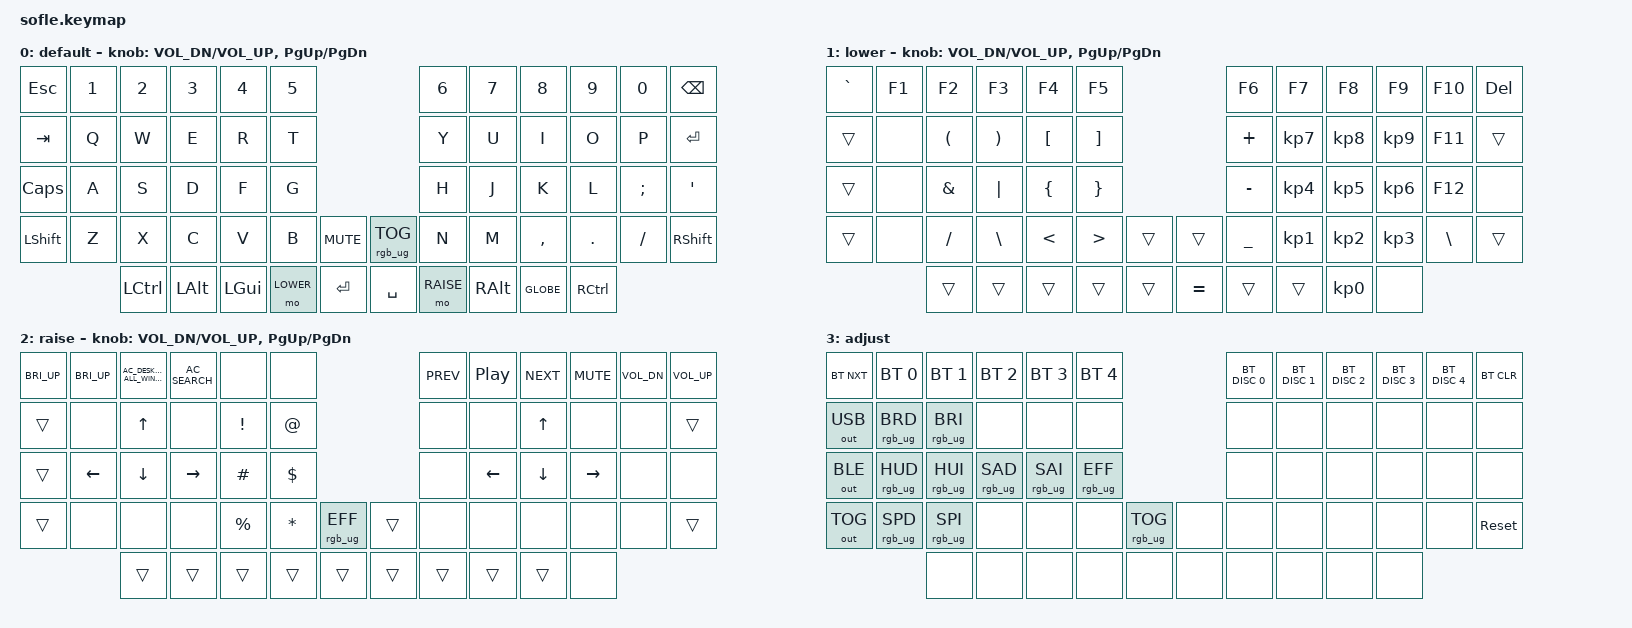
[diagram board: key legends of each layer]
/*
 * Copyright (c) 2020 The ZMK Contributors
 *
 * SPDX-License-Identifier: MIT
 */

#include <behaviors.dtsi>
#include <dt-bindings/zmk/keys.h>
#include <dt-bindings/zmk/bt.h>
#include <dt-bindings/zmk/rgb.h>
#include <dt-bindings/zmk/ext_power.h>
#include <dt-bindings/zmk/outputs.h>

#define BASE 0
#define LOWER 1
#define RAISE 2
#define ADJUST 3

/ {

   // Activate ADJUST layer by pressing raise and lower
    conditional_layers {
        compatible = "zmk,conditional-layers";
        adjust_layer {
            if-layers = <LOWER RAISE>;
            then-layer = <ADJUST>;
        };
    };

    keymap {
        compatible = "zmk,keymap";

        default_layer {
            display-name = "default";
// ╭─────────────┬─────────────┬─────────────┬─────────────┬─────────────┬─────────────╮                               ╭─────────────┬─────────────┬─────────────┬─────────────┬─────────────┬─────────────╮
// |     ESC     |      1      |      2      |      3      |      4      |      5      |                               |      6      |      7      |      8      |      9      |      0      |     BSPC    |
// ├─────────────┼─────────────┼─────────────┼─────────────┼─────────────┼─────────────┤                               ├─────────────┼─────────────┼─────────────┼─────────────┼─────────────┼─────────────┤
// |     TAB     |      Q      |      W      |      E      |      R      |      T      |                               |      Y      |      U      |      I      |      O      |      P      |    ENTER    |
// ├─────────────┼─────────────┼─────────────┼─────────────┼─────────────┼─────────────┤                               ├─────────────┼─────────────┼─────────────┼─────────────┼─────────────┼─────────────┤
// |     CAPS    |      A      |      S      |      D      |      F      |      G      |                               |      H      |      J      |      K      |      L      |      ;      |      '      |
// ├─────────────┼─────────────┼─────────────┼─────────────┼─────────────┼─────────────┬─────────────╮    ╭────────────┼─────────────┼─────────────┼─────────────┼─────────────┼─────────────┼─────────────┤
// |     LSHIFT  |      Z      |      X      |      C      |      V      |      B      |     MUTE    |    |     RGB    |      N      |      M      |      ,      |      .      |      /      |    RSHIFT   |
// ╰─────────────┴─────────────┴─────────────┼─────────────┼─────────────┼─────────────├─────────────┤    ├────────────┼─────────────┼─────────────┼─────────────┼─────────────┼─────────────┴─────────────╯
//                             |     LCTRL   |     LALT    |     LGUI    |     LOWER   |    ENTER    |    |   SPACE    |    RAISE    |     RALT    |     GLOBE   |    RCTRL    |
//                             ╰─────────────┴─────────────┴─────────────┴─────────────┴─────────────╯    ╰────────────┴─────────────┴─────────────┴─────────────┴─────────────╯
                        bindings = <
            &kp ESC   &kp N1 &kp N2   &kp N3   &kp N4    &kp N5                                  &kp N6     &kp N7    &kp N8    &kp N9   &kp N0   &kp BSPC
            &kp TAB   &kp Q  &kp W    &kp E    &kp R     &kp T                                   &kp Y      &kp U     &kp I     &kp O    &kp P    &kp RET
            &kp CLCK  &kp A  &kp S    &kp D    &kp F     &kp G                                   &kp H      &kp J     &kp K     &kp L    &kp SEMI &kp SQT
            &kp LSHFT &kp Z  &kp X    &kp C    &kp V     &kp B      &kp C_MUTE &rgb_ug RGB_TOG   &kp N      &kp M     &kp COMMA &kp DOT  &kp FSLH &kp RSHFT
                          &kp LCTRL &kp LALT &kp LGUI  &mo LOWER  &kp RET     &kp SPACE         &mo RAISE  &kp RALT   &kp GLOBE    &kp RCTRL
                        >; 

            sensor-bindings = <&inc_dec_kp C_VOL_DN C_VOL_UP &inc_dec_kp PG_UP PG_DN>;
        };

        lower_layer {
            display-name = "lower";
// ╭─────────────┬─────────────┬─────────────┬─────────────┬─────────────┬─────────────╮                               ╭─────────────┬─────────────┬─────────────┬─────────────┬─────────────┬─────────────╮
// |    ` ~      |      F1     |      F2     |     F3      |      F4     |      F5     |                               |      F6     |      F7     |      F8     |      F9     |      F10    |     DEL     |
// ├─────────────┼─────────────┼─────────────┼─────────────┼─────────────┼─────────────┤                               ├─────────────┼─────────────┼─────────────┼─────────────┼─────────────┼─────────────┤
// |             |             |      (      |      )      |      [      |      ]      |                               |      +      |      7      |      8      |      9      |      F11    |             |
// ├─────────────┼─────────────┼─────────────┼─────────────┼─────────────┼─────────────┤                               ├─────────────┼─────────────┼─────────────┼─────────────┼─────────────┼─────────────┤
// |             |             |      &      |      |      |      {      |      }      |                               |      -      |      4      |      5      |      6      |      F12    |             |
// ├─────────────┼─────────────┼─────────────┼─────────────┼─────────────┼─────────────┬─────────────╮    ╭────────────┼─────────────┼─────────────┼─────────────┼─────────────┼─────────────┼─────────────┤
// |             |             |      /      |      \      |      <      |      >      |             |    |            |      _      |      1      |      2      |      3      |      \      |             |
// ╰─────────────┴─────────────┴─────────────┼─────────────┼─────────────┼─────────────├─────────────┤    ├────────────┼─────────────┼─────────────┼─────────────┼─────────────┼─────────────┴─────────────╯
//                             |             |             |             |             |             |    |     =      |             |             |      0      |             |
//                             ╰─────────────┴─────────────┴─────────────┴─────────────┴─────────────╯    ╰────────────┴─────────────┴─────────────┴─────────────┴─────────────╯
                        bindings = <
            &kp GRAVE &kp F1    &kp F2    &kp F3    &kp F4    &kp F5                     &kp F6    &kp F7       &kp F8       &kp F9       &kp F10    &kp DEL
            &trans     &none     &kp LPAR  &kp RPAR  &kp LBKT  &kp RBKT                   &kp PLUS  &kp KP_N7    &kp KP_N8    &kp KP_N9    &kp F11    &trans 
            &trans     &none     &kp AMPS  &kp PIPE  &kp LBRC  &kp RBRC                   &kp MINUS &kp KP_N4    &kp KP_N5    &kp KP_N6    &kp F12    &none
            &trans     &none     &kp FSLH  &kp BSLH  &kp LT    &kp GT    &trans &trans    &kp UNDER &kp KP_N1    &kp KP_N2    &kp KP_N3    &kp BSLH   &trans
                                &trans    &trans    &trans    &trans    &trans &kp EQUAL &trans    &trans    &kp KP_N0    &none
                        >;

            sensor-bindings = <&inc_dec_kp C_VOL_DN C_VOL_UP &inc_dec_kp PG_UP PG_DN>;
        };

        raise_layer {
            display-name = "raise";
// ╭─────────────┬─────────────┬─────────────┬─────────────┬─────────────┬─────────────╮                               ╭─────────────┬─────────────┬─────────────┬─────────────┬─────────────┬─────────────╮
// |  C_BRI_DN   |  C_BRI_UP   |  MISSION C  | C_AC_SEARCH |             |             |                               |   PREVIEW   |     PLAY    |     NEXT    |     MUTE    |   VOL DOWN  |   VOL UP    |
// ├─────────────┼─────────────┼─────────────┼─────────────┼─────────────┼─────────────┤                               ├─────────────┼─────────────┼─────────────┼─────────────┼─────────────┼─────────────┤
// |             |             |      ^      |             |      !      |      @      |                               |             |             |      ^      |             |             |             |
// ├─────────────┼─────────────┼─────────────┼─────────────┼─────────────┼─────────────┤                               ├─────────────┼─────────────┼─────────────┼─────────────┼─────────────┼─────────────┤
// |             |     <-      |      v      |      ->     |      #      |      $      |                               |             |      <-     |      v      |     ->      |             |             |
// ├─────────────┼─────────────┼─────────────┼─────────────┼─────────────┼─────────────┬─────────────╮    ╭────────────┼─────────────┼─────────────┼─────────────┼─────────────┼─────────────┼─────────────┤
// |             |             |             |             |      %      |      *      |   RGB_EFF   |    |            |             |             |             |             |             |             |
// ╰─────────────┴─────────────┴─────────────┼─────────────┼─────────────┼─────────────├─────────────┤    ├────────────┼─────────────┼─────────────┼─────────────┼─────────────┼─────────────┴─────────────╯
//                             |             |             |             |             |             |    |            |             |             |             |             |
//                             ╰─────────────┴─────────────┴─────────────┴─────────────┴─────────────╯    ╰────────────┴─────────────┴─────────────┴─────────────┴─────────────╯
                        bindings = <
            &kp C_BRI_UP    &kp C_BRI_UP   &kp C_AC_DESKTOP_SHOW_ALL_WINDOWS       &kp C_AC_SEARCH    &none        &none                                 &kp C_PREV   &kp C_PP    &kp C_NEXT    &kp C_MUTE    &kp C_VOL_DN  &kp C_VOL_UP
            &trans          &none          &kp UP                                  &none              &kp EXCL     &kp AT                                &none        &none       &kp UP        &none         &none         &trans
            &trans          &kp LEFT       &kp DOWN                                &kp RIGHT          &kp HASH     &kp DLLR                              &none        &kp LEFT    &kp DOWN      &kp RIGHT     &none         &none
            &trans          &none          &none                                   &none              &kp PRCNT    &kp ASTRK   &rgb_ug RGB_EFF  &trans   &none        &none       &none         &none         &none         &trans
                                            &trans       &trans       &trans       &trans      &trans            &trans  &trans     &trans     &trans      &none  
                        >;

            sensor-bindings = <&inc_dec_kp C_VOL_DN C_VOL_UP &inc_dec_kp PG_UP PG_DN>;
        };

        adjust_layer {
// ╭─────────────┬─────────────┬─────────────┬─────────────┬─────────────┬─────────────╮                               ╭─────────────┬─────────────┬─────────────┬─────────────┬─────────────┬─────────────╮
// |    BT_NXT   |     BT1     |     BT2     |     BT3     |     BT4     |     BT5     |                               |    DBT1     |    DBT2     |    DBT3     |    DBT4     |    DBT5     |    BTCLR    |
// ├─────────────┼─────────────┼─────────────┼─────────────┼─────────────┼─────────────┤                               ├─────────────┼─────────────┼─────────────┼─────────────┼─────────────┼─────────────┤
// |   OUT_USB   |   RGB_HUD   |   RGB_HUI   |   RGB_SAD   |   RGB_SAI   |   RGB_EFF   |                               |             |             |             |             |             |             |
// ├─────────────┼─────────────┼─────────────┼─────────────┼─────────────┼─────────────┤                               ├─────────────┼─────────────┼─────────────┼─────────────┼─────────────┼─────────────┤
// |   OUT_BLE   |   RGB_BRD   |   RGB_BRI   |             |             |             |                               |             |             |             |             |             |             |
// ├─────────────┼─────────────┼─────────────┼─────────────┼─────────────┼─────────────┬─────────────╮    ╭────────────┼─────────────┼─────────────┼─────────────┼─────────────┼─────────────┼─────────────┤
// |   OUT_TOG   |   RGB_SPD   |   RGB_SPI   |             |             |             |   RGB_TOG   |    |            |             |             |             |             |             |  sys_reset  |
// ╰─────────────┴─────────────┴─────────────┼─────────────┼─────────────┼─────────────├─────────────┤    ├────────────┼─────────────┼─────────────┼─────────────┼─────────────┼─────────────┴─────────────╯
//                             |             |             |             |             |             |    |            |             |             |             |             |
//                             ╰─────────────┴─────────────┴─────────────┴─────────────┴─────────────╯    ╰────────────┴─────────────┴─────────────┴─────────────┴─────────────╯
                display-name = "adjust";
                bindings = <
            &bt BT_NXT          &bt BT_SEL 0       &bt BT_SEL 1       &bt BT_SEL 2    &bt BT_SEL 3    &bt BT_SEL 4                                   &bt BT_DISC 0       &bt BT_DISC 1     &bt BT_DISC 2     &bt BT_DISC 3     &bt BT_DISC 4     &bt BT_CLR
            &out OUT_USB        &rgb_ug RGB_BRD    &rgb_ug RGB_BRI    &none           &none           &none                                          &none               &none             &none             &none             &none             &none
            &out OUT_BLE        &rgb_ug RGB_HUD    &rgb_ug RGB_HUI    &rgb_ug RGB_SAD &rgb_ug RGB_SAI &rgb_ug RGB_EFF                                &none               &none             &none             &none             &none             &none
            &out OUT_TOG        &rgb_ug RGB_SPD    &rgb_ug RGB_SPI    &none           &none           &none    &rgb_ug RGB_TOG               &none   &none               &none             &none             &none             &none             &sys_reset
                                            &none           &none           &none           &none    &none                    &none  &none &none &none &none
            >;
        };

        extra1 { status = "reserved"; };

        extra2 { status = "reserved"; };

        extra3 { status = "reserved"; };

        extra4 { status = "reserved"; };
    };
};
